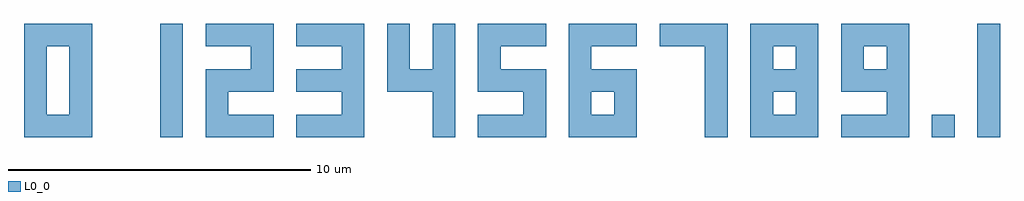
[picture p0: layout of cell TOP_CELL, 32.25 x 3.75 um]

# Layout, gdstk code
import gdstk
lib = gdstk.Library(unit=1e-6, precision=1e-09)
def R(c, l, rs):  # rectangles x0, y0, x1, y1
    for r in rs: c.add(gdstk.rectangle(r[:2], r[2:], *l))
def P(c, l, *ps):  # polygons
    for p in ps: c.add(gdstk.Polygon(p, *l))
L0_0 = (0, 0)

dump_0 = lib.new_cell('DUMP_0')
P(dump_0, L0_0, [(2.25,4.5),(0,4.5),(0,1.5),(0.75,1.5),(0.75,3.75),(1.5,3.75),(1.5,1.5),(0.75,1.5),(0,1.5),(0,0.75),(2.25,0.75)])

dump_1 = lib.new_cell('DUMP_1')
R(dump_1, L0_0, [(1.5,0.75,2.25,4.5)])

dump_2 = lib.new_cell('DUMP_2')
P(dump_2, L0_0, [(0,0.75),(2.25,0.75),(2.25,1.5),(0.75,1.5),(0.75,2.25),(2.25,2.25),(2.25,4.5),(0,4.5),(0,3.75),(1.5,3.75),(1.5,3),(0,3)])

dump_3 = lib.new_cell('DUMP_3')
P(dump_3, L0_0, [(0,2.25),(1.5,2.25),(1.5,1.5),(0,1.5),(0,0.75),(2.25,0.75),(2.25,4.5),(0,4.5),(0,3.75),(1.5,3.75),(1.5,3),(0,3)])

dump_4 = lib.new_cell('DUMP_4')
P(dump_4, L0_0, [(1.5,2.25),(1.5,0.75),(2.25,0.75),(2.25,4.5),(1.5,4.5),(1.5,3),(0.75,3),(0.75,4.5),(0,4.5),(0,2.25)])

dump_5 = lib.new_cell('DUMP_5')
P(dump_5, L0_0, [(0,2.25),(1.5,2.25),(1.5,1.5),(0,1.5),(0,0.75),(2.25,0.75),(2.25,3),(0.75,3),(0.75,3.75),(2.25,3.75),(2.25,4.5),(0,4.5)])

dump_6 = lib.new_cell('DUMP_6')
P(dump_6, L0_0, [(2.25,3),(0.75,3),(0.75,3.75),(2.25,3.75),(2.25,4.5),(0,4.5),(0,1.5),(0.75,1.5),(0.75,2.25),(1.5,2.25),(1.5,1.5),(0.75,1.5),(0,1.5),(0,0.75),(2.25,0.75)])

dump_7 = lib.new_cell('DUMP_7')
P(dump_7, L0_0, [(2.25,0.75),(2.25,4.5),(0,4.5),(0,3.75),(1.5,3.75),(1.5,0.75)])

dump_8 = lib.new_cell('DUMP_8')
P(dump_8, L0_0, [(2.25,4.5),(0,4.5),(0,3),(0.75,3),(0.75,3.75),(1.5,3.75),(1.5,3),(0.75,3),(0,3),(0,1.5),(0.75,1.5),(0.75,2.25),(1.5,2.25),(1.5,1.5),(0.75,1.5),(0,1.5),(0,0.75),(2.25,0.75)])

dump_9 = lib.new_cell('DUMP_9')
P(dump_9, L0_0, [(1.5,1.5),(0,1.5),(0,0.75),(2.25,0.75),(2.25,4.5),(0,4.5),(0,3),(0.75,3),(0.75,3.75),(1.5,3.75),(1.5,3),(0.75,3),(0,3),(0,2.25),(1.5,2.25)])

dump_p = lib.new_cell('DUMP_P')
R(dump_p, L0_0, [(0,0.75,0.75,1.5), (1.5,0.75,2.25,4.5)])

dump__ = lib.new_cell('DUMP_ ')

top_cell = lib.new_cell('TOP_CELL')
top_cell.add(gdstk.Reference(dump_0, (0,0)))
top_cell.add(gdstk.Reference(dump_1, (3,0)))
top_cell.add(gdstk.Reference(dump_2, (6,0)))
top_cell.add(gdstk.Reference(dump_3, (9,0)))
top_cell.add(gdstk.Reference(dump_4, (12,0)))
top_cell.add(gdstk.Reference(dump_5, (15,0)))
top_cell.add(gdstk.Reference(dump_6, (18,0)))
top_cell.add(gdstk.Reference(dump_7, (21,0)))
top_cell.add(gdstk.Reference(dump_8, (24,0)))
top_cell.add(gdstk.Reference(dump_9, (27,0)))
top_cell.add(gdstk.Reference(dump_p, (30,0)))
top_cell.add(gdstk.Reference(dump__, (33,0)))

lib.write_gds('TOP_CELL.gds')
